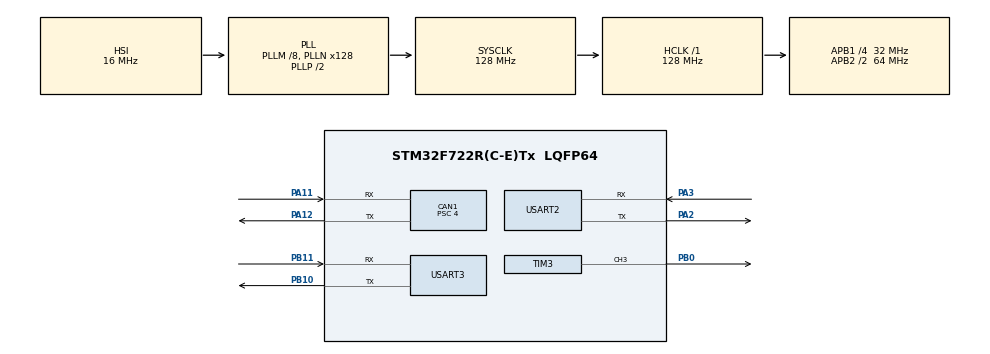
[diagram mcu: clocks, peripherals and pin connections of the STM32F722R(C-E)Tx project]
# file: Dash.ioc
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CAN1.ABOM=ENABLE
CAN1.BS1=CAN_BS1_13TQ
CAN1.BS2=CAN_BS2_2TQ
CAN1.CalculateBaudRate=500000
CAN1.CalculateTimeBit=2000
CAN1.CalculateTimeQuantum=125.0
CAN1.Mode=CAN_MODE_NORMAL
CAN1.NART=ENABLE
CAN1.Prescaler=4
CAN1.SJW=CAN_SJW_1TQ
CORTEX_M7.default_mode_Activation=1
Dma.Request0=TIM3_CH3
Dma.Request1=USART3_RX
Dma.Request2=USART3_TX
Dma.Request3=USART2_RX
Dma.Request4=USART2_TX
Dma.TIM3_CH3.0.Direction=DMA_MEMORY_TO_PERIPH
Dma.TIM3_CH3.0.FIFOMode=DMA_FIFOMODE_DISABLE
Dma.TIM3_CH3.0.Instance=DMA1_Stream7
Dma.TIM3_CH3.0.MemDataAlignment=DMA_MDATAALIGN_HALFWORD
Dma.TIM3_CH3.0.MemInc=DMA_MINC_ENABLE
Dma.TIM3_CH3.0.Mode=DMA_CIRCULAR
Dma.TIM3_CH3.0.PeriphDataAlignment=DMA_PDATAALIGN_HALFWORD
Dma.TIM3_CH3.0.PeriphInc=DMA_PINC_DISABLE
Dma.TIM3_CH3.0.Priority=DMA_PRIORITY_LOW
Dma.USART2_RX.3.Direction=DMA_PERIPH_TO_MEMORY
Dma.USART2_RX.3.FIFOMode=DMA_FIFOMODE_DISABLE
Dma.USART2_RX.3.Instance=DMA1_Stream5
Dma.USART2_RX.3.MemDataAlignment=DMA_MDATAALIGN_BYTE
Dma.USART2_RX.3.MemInc=DMA_MINC_ENABLE
Dma.USART2_RX.3.Mode=DMA_CIRCULAR
Dma.USART2_RX.3.PeriphDataAlignment=DMA_PDATAALIGN_BYTE
Dma.USART2_RX.3.PeriphInc=DMA_PINC_DISABLE
Dma.USART2_RX.3.Priority=DMA_PRIORITY_LOW
Dma.USART2_TX.4.Direction=DMA_MEMORY_TO_PERIPH
Dma.USART2_TX.4.FIFOMode=DMA_FIFOMODE_DISABLE
Dma.USART2_TX.4.Instance=DMA1_Stream6
Dma.USART2_TX.4.MemDataAlignment=DMA_MDATAALIGN_BYTE
Dma.USART2_TX.4.MemInc=DMA_MINC_ENABLE
Dma.USART2_TX.4.Mode=DMA_NORMAL
Dma.USART2_TX.4.PeriphDataAlignment=DMA_PDATAALIGN_BYTE
Dma.USART2_TX.4.PeriphInc=DMA_PINC_DISABLE
Dma.USART2_TX.4.Priority=DMA_PRIORITY_LOW
Dma.USART3_RX.1.Direction=DMA_PERIPH_TO_MEMORY
Dma.USART3_RX.1.FIFOMode=DMA_FIFOMODE_DISABLE
Dma.USART3_RX.1.Instance=DMA1_Stream1
Dma.USART3_RX.1.MemDataAlignment=DMA_MDATAALIGN_BYTE
Dma.USART3_RX.1.MemInc=DMA_MINC_ENABLE
Dma.USART3_RX.1.Mode=DMA_CIRCULAR
Dma.USART3_RX.1.PeriphDataAlignment=DMA_PDATAALIGN_BYTE
Dma.USART3_RX.1.PeriphInc=DMA_PINC_DISABLE
Dma.USART3_RX.1.Priority=DMA_PRIORITY_HIGH
Dma.USART3_TX.2.Direction=DMA_MEMORY_TO_PERIPH
Dma.USART3_TX.2.FIFOMode=DMA_FIFOMODE_DISABLE
Dma.USART3_TX.2.Instance=DMA1_Stream3
Dma.USART3_TX.2.MemDataAlignment=DMA_MDATAALIGN_BYTE
Dma.USART3_TX.2.MemInc=DMA_MINC_ENABLE
Dma.USART3_TX.2.Mode=DMA_NORMAL
Dma.USART3_TX.2.PeriphDataAlignment=DMA_PDATAALIGN_BYTE
Dma.USART3_TX.2.PeriphInc=DMA_PINC_DISABLE
Dma.USART3_TX.2.Priority=DMA_PRIORITY_MEDIUM
FREERTOS.Tasks01=defaultTask,24,256,StartDefaultTask,Default,NULL,Dynamic,NULL,NULL;TaskCANRx,40,512,Task_CAN_Rx,Default,NULL,Dynamic,NULL,NULL;TaskDisplay,24,512,Task_Display,Default,NULL,Dynamic,NULL,NULL;TaskHeartbeat,8,256,Task_Heartbeat,Default,NULL,Dynamic,NULL,NULL
FREERTOS.configTOTAL_HEAP_SIZE=24576
FREERTOS.configUSE_NEWLIB_REENTRANT=1
Mcu.Family=STM32F7
Mcu.Name=STM32F722R(C-E)Tx
Mcu.Package=LQFP64
Mcu.UserConstants=LED_CNT,79
NVIC.CAN1_RX0_IRQn=true\:5\:0\:false\:false\:true\:true\:true\:true\:true
NVIC.DMA1_Stream1_IRQn=true\:5\:0\:false\:false\:true\:true\:false\:true\:true
NVIC.DMA1_Stream3_IRQn=true\:5\:0\:false\:false\:true\:true\:false\:true\:true
NVIC.DMA1_Stream5_IRQn=true\:5\:0\:false\:false\:true\:true\:false\:true\:true
NVIC.DMA1_Stream6_IRQn=true\:5\:0\:false\:false\:true\:true\:false\:true\:true
NVIC.DMA1_Stream7_IRQn=true\:5\:0\:false\:false\:true\:true\:false\:true\:true
NVIC.PriorityGroup=NVIC_PRIORITYGROUP_4
NVIC.TIM8_TRG_COM_TIM14_IRQn=true\:15\:0\:false\:false\:true\:false\:false\:true\:true
NVIC.TimeBase=TIM8_TRG_COM_TIM14_IRQn
NVIC.TimeBaseIP=TIM14
NVIC.USART2_IRQn=true\:5\:0\:false\:false\:true\:true\:true\:true\:true
NVIC.USART3_IRQn=true\:5\:0\:false\:false\:true\:true\:true\:true\:true
PA11.Mode=CAN_Activate
PA11.Signal=CAN1_RX
PA12.Mode=CAN_Activate
PA12.Signal=CAN1_TX
PA13.Mode=Serial_Wire
PA13.Signal=SYS_JTMS-SWDIO
PA14.Mode=Serial_Wire
PA14.Signal=SYS_JTCK-SWCLK
PA2.Mode=Asynchronous
PA2.Signal=USART2_TX
PA3.Mode=Asynchronous
PA3.Signal=USART2_RX
PB0.Signal=S_TIM3_CH3
PB10.Mode=Asynchronous
PB10.Signal=USART3_TX
PB11.Mode=Asynchronous
PB11.Signal=USART3_RX
ProjectManager.HeapSize=0x400
ProjectManager.StackSize=0x800
ProjectManager.TargetToolchain=STM32CubeIDE
RCC.AHBFreq_Value=128000000
RCC.APB1CLKDivider=RCC_HCLK_DIV4
RCC.APB1Freq_Value=32000000
RCC.APB1TimFreq_Value=64000000
RCC.APB2CLKDivider=RCC_HCLK_DIV2
RCC.APB2Freq_Value=64000000
RCC.APB2TimFreq_Value=128000000
RCC.CortexFreq_Value=128000000
RCC.HCLKFreq_Value=128000000
RCC.HSE_VALUE=25000000
RCC.HSI_VALUE=16000000
RCC.LSE_VALUE=32768
RCC.PLLM=8
RCC.PLLN=128
RCC.SYSCLKFreq_VALUE=128000000
RCC.SYSCLKSource=RCC_SYSCLKSOURCE_PLLCLK
RCC.USBFreq_Value=128000000
RCC.VCOOutputFreq_Value=256000000
SH.S_TIM3_CH3.0=TIM3_CH3,PWM Generation3 CH3
TIM3.Channel-PWM\ Generation3\ CH3=TIM_CHANNEL_3
TIM3.Period=LED_CNT
USART2.VirtualMode-Asynchronous=VM_ASYNC
USART3.VirtualMode-Asynchronous=VM_ASYNC
VP_FREERTOS_VS_CMSIS_V2.Mode=CMSIS_V2
VP_SYS_VS_tim14.Mode=TIM14
VP_TIM3_VS_ClockSourceINT.Mode=Internal
board=custom

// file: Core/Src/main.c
/* USER CODE BEGIN Header */
/* USER CODE END Header */
#include "main.h"
#include "cmsis_os.h"

/* USER CODE BEGIN Includes */
#include "config.h"
#include "ws2812.h"
#include "heartbeat_led.h"
#include "shifting_lights.h"
#include "uart_transport.h"
#include "victor_vision.h"
#include "can_receiver.h"
#include "task_watchdog.h"
#include "dash_config.h"
#include "config_cmd.h"

/* USER CODE END Includes */

CAN_HandleTypeDef hcan1;

TIM_HandleTypeDef htim3;
DMA_HandleTypeDef hdma_tim3_ch3;

UART_HandleTypeDef huart2;
UART_HandleTypeDef huart3;
DMA_HandleTypeDef hdma_usart2_rx;
DMA_HandleTypeDef hdma_usart2_tx;
DMA_HandleTypeDef hdma_usart3_rx;
DMA_HandleTypeDef hdma_usart3_tx;

/* Definitions for defaultTask */
osThreadId_t defaultTaskHandle;
const osThreadAttr_t defaultTask_attributes = {
  .name = "defaultTask",
  .stack_size = 256 * 4,
  .priority = (osPriority_t) osPriorityNormal,
};
/* Definitions for TaskCANRx */
osThreadId_t TaskCANRxHandle;
const osThreadAttr_t TaskCANRx_attributes = {
  .name = "TaskCANRx",
  .stack_size = 512 * 4,
  .priority = (osPriority_t) osPriorityHigh,
};
/* Definitions for TaskDisplay */
osThreadId_t TaskDisplayHandle;
const osThreadAttr_t TaskDisplay_attributes = {
  .name = "TaskDisplay",
  .stack_size = 512 * 4,
  .priority = (osPriority_t) osPriorityNormal,
};
/* Definitions for TaskHeartbeat */
osThreadId_t TaskHeartbeatHandle;
const osThreadAttr_t TaskHeartbeat_attributes = {
  .name = "TaskHeartbeat",
  .stack_size = 256 * 4,
  .priority = (osPriority_t) osPriorityLow,
};
/* USER CODE BEGIN PV */
__attribute__((section(".sram1_bss"))) ws2812_handleTypeDef ws2812;

/* Crash cookie — survives soft reset (SRAM1 is not zeroed by startup code).
 * Fault handlers write 0xDEADxxxx here, then call NVIC_SystemReset().
 * main() reads this before osKernelStart() and shows a colour on all LEDs:
 *   0xDEAD0001 = HardFault   → red
 *   0xDEAD0002 = MemManage   → blue
 *   0xDEAD0003 = BusFault    → green
 *   0xDEAD0004 = UsageFault  → yellow
 *   0xDEAD0005 = NMI         → white
 */
__attribute__((section(".sram1_bss"))) volatile uint32_t fault_cookie;

/* UART ports — created before the scheduler starts, one owner task each. */
static uart_transport_t *s_disp_port;   /* USART3 → Victor Vision display */
static uart_transport_t *s_cfg_port;    /* USART2 → USB-serial config port */

/* Config port RX: ISR pushes bytes, Task_Config pulls them. */
#define CONFIG_RX_QUEUE_LEN  128u
static osMessageQueueId_t s_cfg_rx_queue;

osThreadId_t TaskConfigHandle;
const osThreadAttr_t TaskConfig_attributes = {
  .name = "TaskConfig",
  .stack_size = 512 * 4,   /* vsnprintf in config_cmd */
  .priority = (osPriority_t) osPriorityLow,
};
/* USER CODE END PV */

void SystemClock_Config(void);
static void MPU_Config(void);
static void MX_GPIO_Init(void);
static void MX_DMA_Init(void);
static void MX_TIM3_Init(void);
static void MX_CAN1_Init(void);
static void MX_USART3_UART_Init(void);
static void MX_USART2_UART_Init(void);
void StartDefaultTask(void *argument);
void Task_CAN_Rx(void *argument);
void Task_Display(void *argument);
void Task_Heartbeat(void *argument);

/* USER CODE BEGIN PFP */
void Task_Config(void *argument);
/* USER CODE END PFP */

int main(void)
{

  /* MPU Configuration--------------------------------------------------------*/
  MPU_Config();

  /* MCU Configuration--------------------------------------------------------*/

  /* Reset of all peripherals, Initializes the Flash interface and the Systick. */
  HAL_Init();

  /* Configure the system clock */
  SystemClock_Config();

  /* Initialize all configured peripherals */
  MX_GPIO_Init();
  MX_DMA_Init();
  MX_TIM3_Init();
  MX_CAN1_Init();
  MX_USART3_UART_Init();
  MX_USART2_UART_Init();
  /* USER CODE BEGIN 2 */
  ws2812_init(&ws2812, &htim3, TIM_CHANNEL_3, CFG_LED_TOTAL_COUNT);

  /* ---- Crash-cookie check ------------------------------------------------
   * If the previous run ended in a fault, show a solid colour for 3 s so the
   * user can identify the fault type without a debugger or serial terminal.
   * The cookie persists across NVIC_SystemReset() in SRAM1 (not zeroed by
   * startup), but is cleared here so normal heartbeat resumes afterwards.
   * -------------------------------------------------------------------------*/
  if ((fault_cookie & 0xFFFF0000UL) == 0xDEAD0000UL)
  {
    uint8_t fc = (uint8_t)(fault_cookie & 0xFFU);
    uint8_t r = 0, g = 0, b = 0;
    switch (fc)
    {
      case 1: r = 30;                break; /* HardFault  — red    */
      case 2:          b = 30;       break; /* MemManage  — blue   */
      case 3:      g = 30;           break; /* BusFault   — green  */
      case 4: r = 30; g = 30;        break; /* UsageFault — yellow */
      default: r = 30; g = 30; b = 30; break; /* NMI/other  — white  */
    }
    for (uint16_t i = 0; i < CFG_LED_TOTAL_COUNT; i++)
      setLedValues(&ws2812, i, r, g, b);
    HAL_Delay(3000);
    fault_cookie = 0UL;
  }
  /* USER CODE END 2 */

  /* Init scheduler */
  osKernelInitialize();

  /* USER CODE BEGIN RTOS_MUTEX */
  /* add mutexes, ... */
  dash_config_init();
  s_disp_port = uart_transport_init(&huart3);
  s_cfg_port  = uart_transport_init(&huart2);
  /* USER CODE END RTOS_MUTEX */

  /* USER CODE BEGIN RTOS_QUEUES */
  /* add queues, ... */
  s_cfg_rx_queue = osMessageQueueNew(CONFIG_RX_QUEUE_LEN, sizeof(uint8_t), NULL);
  /* USER CODE END RTOS_QUEUES */

  /* Create the thread(s) */
  /* creation of defaultTask */
  defaultTaskHandle = osThreadNew(StartDefaultTask, NULL, &defaultTask_attributes);

  /* creation of TaskCANRx */
  TaskCANRxHandle = osThreadNew(Task_CAN_Rx, NULL, &TaskCANRx_attributes);

  /* creation of TaskDisplay */
  TaskDisplayHandle = osThreadNew(Task_Display, NULL, &TaskDisplay_attributes);

  /* creation of TaskHeartbeat */
  TaskHeartbeatHandle = osThreadNew(Task_Heartbeat, NULL, &TaskHeartbeat_attributes);

  /* USER CODE BEGIN RTOS_THREADS */
  /* add threads, ... */
  TaskConfigHandle = osThreadNew(Task_Config, NULL, &TaskConfig_attributes);
  /* USER CODE END RTOS_THREADS */

  /* Start scheduler */
  osKernelStart();

  /* We should never get here as control is now taken by the scheduler */

  /* Infinite loop */
  while (1) {

  }
}

void SystemClock_Config(void)
{
  RCC_OscInitTypeDef RCC_OscInitStruct = {0};
  RCC_ClkInitTypeDef RCC_ClkInitStruct = {0};

  /** Configure the main internal regulator output voltage
  */
  __HAL_RCC_PWR_CLK_ENABLE();
  __HAL_PWR_VOLTAGESCALING_CONFIG(PWR_REGULATOR_VOLTAGE_SCALE3);

  /** Initializes the RCC Oscillators according to the specified parameters
  * in the RCC_OscInitTypeDef structure.
  */
  RCC_OscInitStruct.OscillatorType = RCC_OSCILLATORTYPE_HSI;
  RCC_OscInitStruct.HSIState = RCC_HSI_ON;
  RCC_OscInitStruct.HSICalibrationValue = RCC_HSICALIBRATION_DEFAULT;
  RCC_OscInitStruct.PLL.PLLState = RCC_PLL_ON;
  RCC_OscInitStruct.PLL.PLLSource = RCC_PLLSOURCE_HSI;
  RCC_OscInitStruct.PLL.PLLM = 8;
  RCC_OscInitStruct.PLL.PLLN = 128;
  RCC_OscInitStruct.PLL.PLLP = RCC_PLLP_DIV2;
  RCC_OscInitStruct.PLL.PLLQ = 2;
  if (HAL_RCC_OscConfig(&RCC_OscInitStruct) != HAL_OK)
  {
    Error_Handler();
  }

  /** Initializes the CPU, AHB and APB buses clocks
  */
  RCC_ClkInitStruct.ClockType = RCC_CLOCKTYPE_HCLK|RCC_CLOCKTYPE_SYSCLK
                              |RCC_CLOCKTYPE_PCLK1|RCC_CLOCKTYPE_PCLK2;
  RCC_ClkInitStruct.SYSCLKSource = RCC_SYSCLKSOURCE_PLLCLK;
  RCC_ClkInitStruct.AHBCLKDivider = RCC_SYSCLK_DIV1;
  RCC_ClkInitStruct.APB1CLKDivider = RCC_HCLK_DIV4;
  RCC_ClkInitStruct.APB2CLKDivider = RCC_HCLK_DIV2;

  if (HAL_RCC_ClockConfig(&RCC_ClkInitStruct, FLASH_LATENCY_4) != HAL_OK)
  {
    Error_Handler();
  }
}

static void MX_CAN1_Init(void)
{

  hcan1.Instance = CAN1;
  hcan1.Init.Prescaler = 4;
  hcan1.Init.Mode = CAN_MODE_NORMAL;
  hcan1.Init.SyncJumpWidth = CAN_SJW_1TQ;
  hcan1.Init.TimeSeg1 = CAN_BS1_13TQ;
  hcan1.Init.TimeSeg2 = CAN_BS2_2TQ;
  hcan1.Init.TimeTriggeredMode = DISABLE;
  hcan1.Init.AutoBusOff = ENABLE;
  hcan1.Init.AutoWakeUp = DISABLE;
  hcan1.Init.AutoRetransmission = ENABLE;
  hcan1.Init.ReceiveFifoLocked = DISABLE;
  hcan1.Init.TransmitFifoPriority = DISABLE;
  if (HAL_CAN_Init(&hcan1) != HAL_OK)
  {
    Error_Handler();
  }

}

static void MX_TIM3_Init(void)
{

  TIM_ClockConfigTypeDef sClockSourceConfig = {0};
  TIM_MasterConfigTypeDef sMasterConfig = {0};
  TIM_OC_InitTypeDef sConfigOC = {0};

  htim3.Instance = TIM3;
  htim3.Init.Prescaler = 0;
  htim3.Init.CounterMode = TIM_COUNTERMODE_UP;
  htim3.Init.Period = LED_CNT;
  htim3.Init.ClockDivision = TIM_CLOCKDIVISION_DIV1;
  htim3.Init.AutoReloadPreload = TIM_AUTORELOAD_PRELOAD_DISABLE;
  if (HAL_TIM_Base_Init(&htim3) != HAL_OK)
  {
    Error_Handler();
  }
  sClockSourceConfig.ClockSource = TIM_CLOCKSOURCE_INTERNAL;
  if (HAL_TIM_ConfigClockSource(&htim3, &sClockSourceConfig) != HAL_OK)
  {
    Error_Handler();
  }
  if (HAL_TIM_PWM_Init(&htim3) != HAL_OK)
  {
    Error_Handler();
  }
  sMasterConfig.MasterOutputTrigger = TIM_TRGO_RESET;
  sMasterConfig.MasterSlaveMode = TIM_MASTERSLAVEMODE_DISABLE;
  if (HAL_TIMEx_MasterConfigSynchronization(&htim3, &sMasterConfig) != HAL_OK)
  {
    Error_Handler();
  }
  sConfigOC.OCMode = TIM_OCMODE_PWM1;
  sConfigOC.Pulse = 0;
  sConfigOC.OCPolarity = TIM_OCPOLARITY_HIGH;
  sConfigOC.OCFastMode = TIM_OCFAST_DISABLE;
  if (HAL_TIM_PWM_ConfigChannel(&htim3, &sConfigOC, TIM_CHANNEL_3) != HAL_OK)
  {
    Error_Handler();
  }
  HAL_TIM_MspPostInit(&htim3);

}

static void MX_USART2_UART_Init(void)
{

  huart2.Instance = USART2;
  huart2.Init.BaudRate = 115200;
  huart2.Init.WordLength = UART_WORDLENGTH_8B;
  huart2.Init.StopBits = UART_STOPBITS_1;
  huart2.Init.Parity = UART_PARITY_NONE;
  huart2.Init.Mode = UART_MODE_TX_RX;
  huart2.Init.HwFlowCtl = UART_HWCONTROL_NONE;
  huart2.Init.OverSampling = UART_OVERSAMPLING_16;
  huart2.Init.OneBitSampling = UART_ONE_BIT_SAMPLE_DISABLE;
  huart2.AdvancedInit.AdvFeatureInit = UART_ADVFEATURE_NO_INIT;
  if (HAL_UART_Init(&huart2) != HAL_OK)
  {
    Error_Handler();
  }

}

static void MX_USART3_UART_Init(void)
{

  huart3.Instance = USART3;
  huart3.Init.BaudRate = 115200;
  huart3.Init.WordLength = UART_WORDLENGTH_8B;
  huart3.Init.StopBits = UART_STOPBITS_1;
  huart3.Init.Parity = UART_PARITY_NONE;
  huart3.Init.Mode = UART_MODE_TX_RX;
  huart3.Init.HwFlowCtl = UART_HWCONTROL_NONE;
  huart3.Init.OverSampling = UART_OVERSAMPLING_16;
  huart3.Init.OneBitSampling = UART_ONE_BIT_SAMPLE_DISABLE;
  huart3.AdvancedInit.AdvFeatureInit = UART_ADVFEATURE_NO_INIT;
  if (HAL_UART_Init(&huart3) != HAL_OK)
  {
    Error_Handler();
  }

}

static void MX_DMA_Init(void)
{

  /* DMA controller clock enable */
  __HAL_RCC_DMA1_CLK_ENABLE();

  /* DMA interrupt init */
  /* DMA1_Stream1_IRQn interrupt configuration */
  HAL_NVIC_SetPriority(DMA1_Stream1_IRQn, 5, 0);
  HAL_NVIC_EnableIRQ(DMA1_Stream1_IRQn);
  /* DMA1_Stream3_IRQn interrupt configuration */
  HAL_NVIC_SetPriority(DMA1_Stream3_IRQn, 5, 0);
  HAL_NVIC_EnableIRQ(DMA1_Stream3_IRQn);
  /* DMA1_Stream5_IRQn interrupt configuration */
  HAL_NVIC_SetPriority(DMA1_Stream5_IRQn, 5, 0);
  HAL_NVIC_EnableIRQ(DMA1_Stream5_IRQn);
  /* DMA1_Stream6_IRQn interrupt configuration */
  HAL_NVIC_SetPriority(DMA1_Stream6_IRQn, 5, 0);
  HAL_NVIC_EnableIRQ(DMA1_Stream6_IRQn);
  /* DMA1_Stream7_IRQn interrupt configuration */
  HAL_NVIC_SetPriority(DMA1_Stream7_IRQn, 5, 0);
  HAL_NVIC_EnableIRQ(DMA1_Stream7_IRQn);

}

static void MX_GPIO_Init(void)
{

  /* GPIO Ports Clock Enable */
  __HAL_RCC_GPIOA_CLK_ENABLE();
  __HAL_RCC_GPIOB_CLK_ENABLE();

}

/* USER CODE BEGIN 4 */
/* ISR context: hand bytes to Task_Config. Drops bytes if the queue is full. */
static void cfg_rx_cb(const uint8_t *data, uint16_t len)
{
  for (uint16_t i = 0; i < len; i++)
    osMessageQueuePut(s_cfg_rx_queue, &data[i], 0, 0);
}

static void cfg_write(const char *data, uint16_t len)
{
  uart_transport_send(s_cfg_port, (const uint8_t *)data, len);
}

/* Owns the config port: bytes from the ISR queue go to the command parser. */
void Task_Config(void *argument)
{
  uart_transport_set_rx_callback(s_cfg_port, cfg_rx_cb);
  config_cmd_init(cfg_write);

  uint8_t buf[32];
  for (;;)
  {
    uint16_t n = 0;
    if (osMessageQueueGet(s_cfg_rx_queue, &buf[n], NULL, osWaitForever) != osOK)
      continue;
    n++;
    while (n < sizeof(buf) && osMessageQueueGet(s_cfg_rx_queue, &buf[n], NULL, 0) == osOK)
      n++;
    config_cmd_input(buf, n);
  }
}
/* USER CODE END 4 */

void StartDefaultTask(void *argument)
{
  /* USER CODE BEGIN 5 */

  for (;;)
  {
    osDelay(1000);
  }
  /* USER CODE END 5 */
}

void Task_CAN_Rx(void *argument)
{
  /* USER CODE BEGIN Task_CAN_Rx */
  can_receiver_init();
  for (;;)
  {
    can_receiver_task_run();
    task_watchdog_kick(TASK_WD_CANRX);
  }
  /* USER CODE END Task_CAN_Rx */
}

void Task_Display(void *argument)
{
  /* USER CODE BEGIN Task_Display */
  vv_init(s_disp_port);

  static dash_config_t cfg;   /* static: keeps the copy off the task stack */
  uint32_t applied_gen   = 0;
  uint32_t fail_cycles   = 0;
  uint32_t last_reinit   = 0;
  uint32_t tick = osKernelGetTickCount();
  for (;;)
  {
    if (dash_config_generation() != applied_gen) {
      applied_gen = dash_config_get(&cfg);
      vv_set_config(&cfg.display);
    }

    vehicle_state_t state;
    can_receiver_get_state(&state);

    bool ok = true;
    ok &= (vv_update_field(VV_FIELD_RPM,     state.rpm.value)             == DISP_OK);
    ok &= (vv_update_field(VV_FIELD_GEAR,    state.gear.value)            == DISP_OK);
    ok &= (vv_update_field(VV_FIELD_TPS,     state.tps.value)             == DISP_OK);
    ok &= (vv_update_field(VV_FIELD_BATTERY, state.battery_voltage.value) == DISP_OK);
    ok &= (vv_update_field(VV_FIELD_ECT,     state.ect.value)             == DISP_OK);

    if (ok) {
      fail_cycles = 0;
    } else if (fail_cycles < cfg.disp_fail_cycles) {
      fail_cycles++;
    }

    bool comm_failed = (fail_cycles >= cfg.disp_fail_cycles);
    comm_watchdog_set_failed(comm_failed);

    if (comm_failed) {
      uint32_t now = osKernelGetTickCount();
      if ((now - last_reinit) >= cfg.disp_reinit_period_ms) {
        uart_transport_reset(s_disp_port);
        last_reinit = now;
      }
    }

    task_watchdog_kick(TASK_WD_DISPLAY);
    tick += cfg.display_period_ms;
    osDelayUntil(tick);
  }
  /* USER CODE END Task_Display */
}

void Task_Heartbeat(void *argument)
{
  /* USER CODE BEGIN Task_Heartbeat */
  heartbeat_led_init(&ws2812, CFG_HEARTBEAT_LED_IDX);
  shifting_lights_init(&ws2812);

  static dash_config_t cfg;   /* static: keeps the copy off the task stack */
  uint32_t applied_gen = 0;
  for (;;)
  {
    if (dash_config_generation() != applied_gen) {
      applied_gen = dash_config_get(&cfg);
      shifting_lights_set_config(&cfg.shift);
      heartbeat_led_set_colors(cfg.hb_colors);
    }

    vehicle_state_t state;
    can_receiver_get_state(&state);
    shifting_lights_update(state.rpm.value, state.gear.value);

    heartbeat_status_t status = HB_STATUS_OK;

    if (!task_watchdog_ok(TASK_WD_CANRX, CFG_TASK_WD_TIMEOUT_MS)) {
      status = HB_STATUS_ERROR;
    } else if ((osKernelGetTickCount() - state.rpm.timestamp_ms) > cfg.can_stale_ms) {
      status = HB_STATUS_WARN;
    }

    heartbeat_led_set_status(status);
    heartbeat_led_tick();
    osDelay(20);
  }
  /* USER CODE END Task_Heartbeat */
}

 /* MPU Configuration */

void MPU_Config(void)
{
  MPU_Region_InitTypeDef MPU_InitStruct = {0};

  /* Disables the MPU */
  HAL_MPU_Disable();

  /** Initializes and configures the Region and the memory to be protected
  */
  MPU_InitStruct.Enable = MPU_REGION_ENABLE;
  MPU_InitStruct.Number = MPU_REGION_NUMBER0;
  MPU_InitStruct.BaseAddress = 0x0;
  MPU_InitStruct.Size = MPU_REGION_SIZE_4GB;
  MPU_InitStruct.SubRegionDisable = 0x87;
  MPU_InitStruct.TypeExtField = MPU_TEX_LEVEL0;
  MPU_InitStruct.AccessPermission = MPU_REGION_NO_ACCESS;
  MPU_InitStruct.DisableExec = MPU_INSTRUCTION_ACCESS_DISABLE;
  MPU_InitStruct.IsShareable = MPU_ACCESS_SHAREABLE;
  MPU_InitStruct.IsCacheable = MPU_ACCESS_NOT_CACHEABLE;
  MPU_InitStruct.IsBufferable = MPU_ACCESS_NOT_BUFFERABLE;

  HAL_MPU_ConfigRegion(&MPU_InitStruct);
  /* Enables the MPU */
  HAL_MPU_Enable(MPU_PRIVILEGED_DEFAULT);

}

void HAL_TIM_PeriodElapsedCallback(TIM_HandleTypeDef *htim)
{
  if (htim->Instance == TIM14)
  {
    HAL_IncTick();
  }
}

void Error_Handler(void)
{
}
